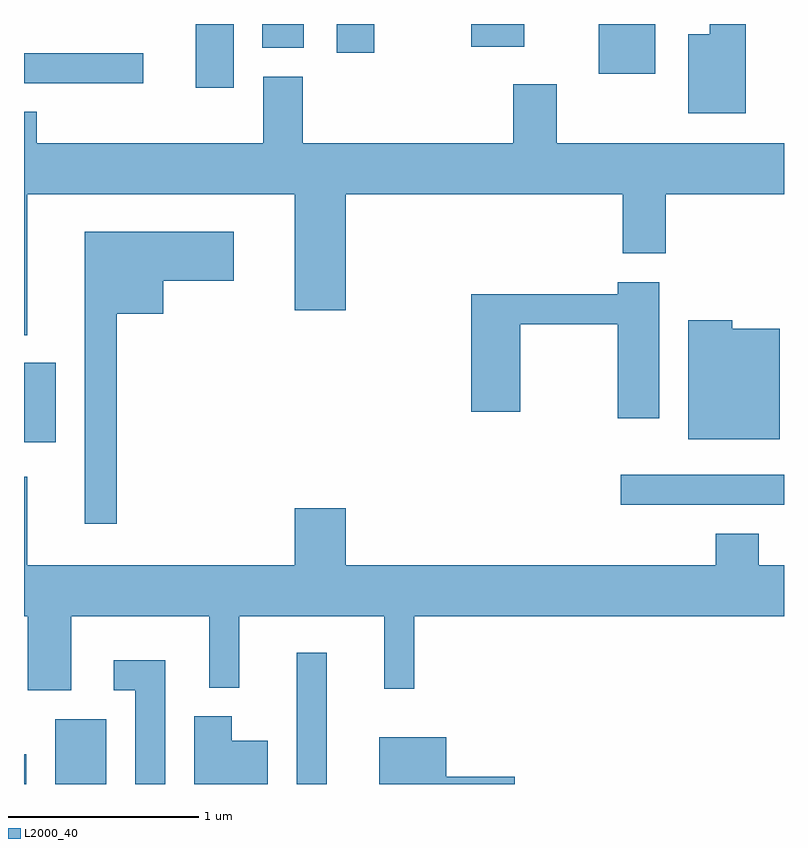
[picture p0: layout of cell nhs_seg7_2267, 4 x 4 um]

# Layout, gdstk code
import gdstk
lib = gdstk.Library(unit=1e-6, precision=1e-09)
def R(c, l, rs):  # rectangles x0, y0, x1, y1
    for r in rs: c.add(gdstk.rectangle(r[:2], r[2:], *l))
def P(c, l, *ps):  # polygons
    for p in ps: c.add(gdstk.Polygon(p, *l))
L2000_40 = (2000, 40)

nhs_seg7_2267 = lib.new_cell('nhs_seg7_2267')
R(nhs_seg7_2267, L2000_40, [(253.611,1782.252,253.624,1782.409), (253.776,1782.252,254.044,1782.594), (255.046,1782.252,255.204,1782.943), (256.753,1783.721,257.611,1783.879), (253.611,1784.051,253.779,1784.469), (254.516,1785.916,254.714,1786.252), (253.611,1785.941,254.238,1786.099), (256.636,1785.991,256.934,1786.252), (255.256,1786.101,255.454,1786.252), (254.866,1786.126,255.084,1786.252), (255.966,1786.131,256.244,1786.252), (253.746,1786.251,254.094,1786.252)])
P(nhs_seg7_2267, L2000_40, [(257.409,1786.252),(257.221,1786.252),(257.221,1786.199),(257.106,1786.199),(257.106,1785.781),(257.409,1785.781)],
  [(253.629,1785.356),(255.036,1785.356),(255.036,1784.746),(255.304,1784.746),(255.304,1785.356),(256.761,1785.356),(256.761,1785.046),(256.989,1785.046),(256.989,1785.356),(257.611,1785.356),(257.611,1785.624),(256.414,1785.624),(256.414,1785.934),(256.186,1785.934),(256.186,1785.624),(255.079,1785.624),(255.079,1785.974),(254.871,1785.974),(254.871,1785.624),(253.679,1785.624),(253.679,1785.789),(253.611,1785.789),(253.611,1784.613),(253.629,1784.613)],
  [(254.099,1784.726),(254.344,1784.726),(254.344,1784.901),(254.714,1784.901),(254.714,1785.159),(253.931,1785.159),(253.931,1783.623),(254.099,1783.623)],
  [(256.954,1784.894),(256.736,1784.894),(256.736,1784.829),(255.966,1784.829),(255.966,1784.211),(256.224,1784.211),(256.224,1784.671),(256.736,1784.671),(256.736,1784.176),(256.954,1784.176)],
  [(257.589,1784.649),(257.339,1784.649),(257.339,1784.694),(257.106,1784.694),(257.106,1784.066),(257.589,1784.066)],
  [(253.859,1783.136),(254.586,1783.136),(254.586,1782.758),(254.744,1782.758),(254.744,1783.136),(255.506,1783.136),(255.506,1782.753),(255.664,1782.753),(255.664,1783.136),(257.611,1783.136),(257.611,1783.404),(257.479,1783.404),(257.479,1783.569),(257.251,1783.569),(257.251,1783.404),(255.304,1783.404),(255.304,1783.704),(255.036,1783.704),(255.036,1783.404),(253.629,1783.404),(253.629,1783.868),(253.611,1783.868),(253.611,1783.136),(253.631,1783.136),(253.631,1782.746),(253.859,1782.746)],
  [(254.354,1782.904),(254.083,1782.904),(254.083,1782.746),(254.196,1782.746),(254.196,1782.252),(254.354,1782.252)],
  [(254.894,1782.479),(254.704,1782.479),(254.704,1782.609),(254.506,1782.609),(254.506,1782.252),(254.894,1782.252)],
  [(256.194,1782.289),(255.834,1782.289),(255.834,1782.499),(255.481,1782.499),(255.481,1782.252),(256.194,1782.252)])

lib.write_gds('nhs_seg7_2267.gds')
